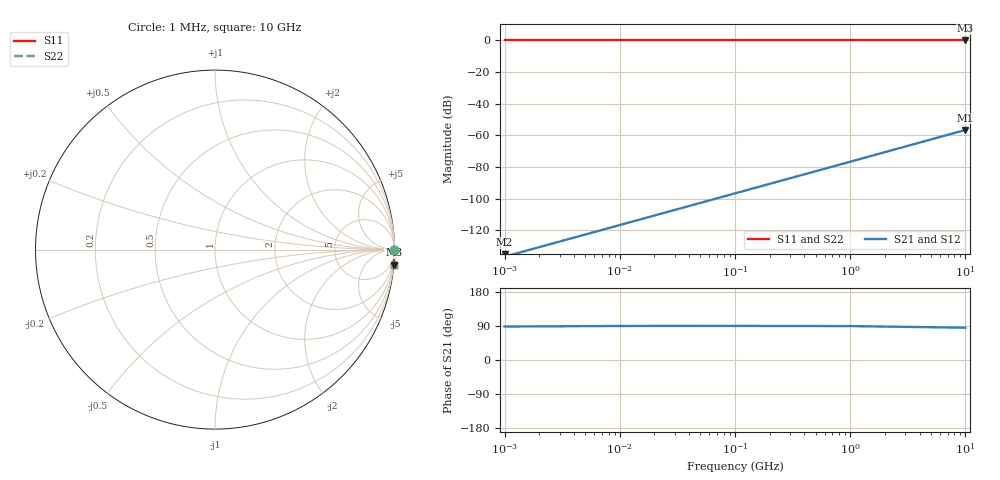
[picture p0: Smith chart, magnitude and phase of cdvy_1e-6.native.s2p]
! Sonnet Data File
! From: em Version : 18.53-Lite
! From Project: cdvy_1e-6
! Data is NOT De-embedded
! Data File Written: 10/12/2026 10:25:31
!< HDATE 10/12/2026 10:25:31
!< MDATE 10/12/2026 10:25:31
# GHZ S RI R 50.00000
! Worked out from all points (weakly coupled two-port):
!   5 points, 1 MHz to 10 GHz, reference 50 ohm
!   highest |S21| = -56.56 dB at 10 GHz (marker M1); lowest = -136.6 dB at 1 MHz (marker M2)
!   lowest |S11| = 0.0 dB at 10 GHz (marker M3)
!   |S11| at or under -10 dB: nowhere
!   |S22| runs from 0.0 to 0.0 dB; largest |S21 - S12| = 4.4e-12
0.001  1 -8.39e-06  4.37e-09 1.47e-07  4.37e-09 1.47e-07  1 -8.39e-06
0.01  1 -8.39e-05  4.5e-09 1.47e-06  4.5e-09 1.47e-06  1 -8.39e-05
0.1  1 -0.000839  1.67e-08 1.47e-05  1.67e-08 1.47e-05  1 -0.000839
1  1 -0.00839  1.24e-06 0.000147  1.24e-06 0.000147  1 -0.00839
10  0.9965 -0.084  0.000125 0.00148  0.000125 0.00148  0.9965 -0.084
